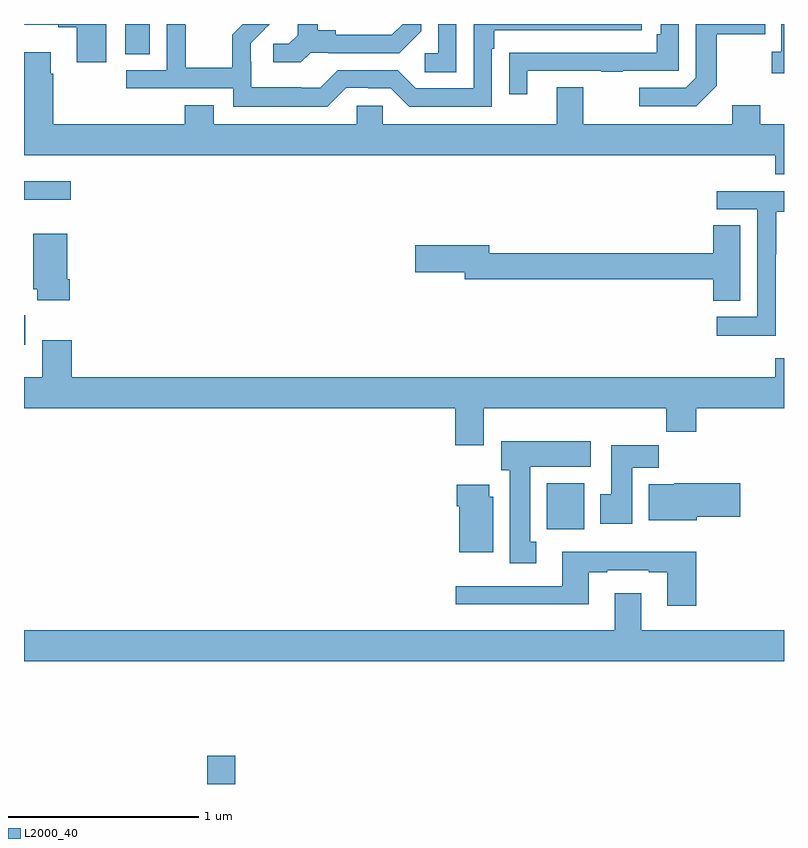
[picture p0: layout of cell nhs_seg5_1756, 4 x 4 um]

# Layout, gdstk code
import gdstk
lib = gdstk.Library(unit=1e-6, precision=1e-09)
def R(c, l, rs):  # rectangles x0, y0, x1, y1
    for r in rs: c.add(gdstk.rectangle(r[:2], r[2:], *l))
def P(c, l, *ps):  # polygons
    for p in ps: c.add(gdstk.Polygon(p, *l))
L2000_40 = (2000, 40)

nhs_seg5_1756 = lib.new_cell('nhs_seg5_1756')
R(nhs_seg5_1756, L2000_40, [(217.964,838.799,218.111,838.948), (219.752,840.14,219.949,840.382), (217,841.112,217.006,841.266), (217,841.875,217.246,841.972), (217.532,842.641,217.663,842.799)])
P(nhs_seg5_1756, L2000_40, [(217.432,842.799),(217,842.799),(217,842.795),(217.181,842.795),(217.181,842.783),(217.277,842.783),(217.277,842.598),(217.432,842.598)],
  [(221,842.799),(220.986,842.799),(220.986,842.654),(220.935,842.654),(220.935,842.541),(221,842.541)],
  [(218.508,842.649),(218.602,842.649),(218.602,842.646),(218.974,842.646),(219.09,842.762),(219.09,842.799),(218.993,842.799),(218.936,842.742),(218.641,842.742),(218.641,842.765),(218.545,842.765),(218.545,842.799),(218.441,842.799),(218.441,842.741),(218.394,842.694),(218.313,842.694),(218.313,842.597),(218.456,842.597)],
  [(220.645,842.473),(220.645,842.746),(220.901,842.746),(220.901,842.799),(220.536,842.799),(220.536,842.517),(220.482,842.463),(220.239,842.463),(220.239,842.367),(220.539,842.367)],
  [(219.649,842.553),(220.039,842.553),(220.039,842.548),(220.151,842.548),(220.151,842.553),(220.446,842.553),(220.446,842.799),(220.35,842.799),(220.35,842.746),(220.33,842.746),(220.33,842.649),(219.655,842.649),(219.655,842.648),(219.553,842.648),(219.553,842.43),(219.649,842.43)],
  [(219.276,842.799),(219.18,842.799),(219.18,842.646),(219.108,842.646),(219.108,842.545),(219.276,842.545)],
  [(218.697,842.463),(218.813,842.463),(218.813,842.46),(218.931,842.46),(219.027,842.364),(219.462,842.364),(219.462,842.669),(219.475,842.669),(219.475,842.766),(220.252,842.766),(220.252,842.799),(219.366,842.799),(219.366,842.46),(219.063,842.46),(218.967,842.556),(218.652,842.556),(218.559,842.463),(218.459,842.463),(218.459,842.467),(218.196,842.467),(218.196,842.601),(218.194,842.601),(218.194,842.698),(218.268,842.772),(218.267,842.773),(218.293,842.799),(218.151,842.799),(218.095,842.743),(218.095,842.569),(217.851,842.569),(217.851,842.792),(217.848,842.792),(217.848,842.799),(217.752,842.799),(217.752,842.556),(217.539,842.556),(217.539,842.46),(218.1,842.46),(218.1,842.363),(218.597,842.363)],
  [(221,842.272),(220.875,842.272),(220.875,842.371),(220.727,842.371),(220.727,842.272),(219.943,842.272),(219.943,842.467),(219.803,842.467),(219.803,842.272),(218.889,842.272),(218.889,842.37),(218.751,842.37),(218.751,842.272),(217.999,842.272),(217.999,842.371),(217.847,842.371),(217.847,842.272),(217.154,842.272),(217.154,842.537),(217.141,842.537),(217.141,842.65),(217.001,842.65),(217.001,842.272),(217,842.272),(217,842.108),(220.955,842.108),(220.955,842.009),(221,842.009)],
  [(220.956,841.588),(220.959,841.588),(220.959,841.812),(221,841.812),(221,841.92),(220.647,841.92),(220.647,841.824),(220.86,841.824),(220.86,841.257),(220.647,841.257),(220.647,841.159),(220.956,841.159)],
  [(220.771,841.739),(220.628,841.739),(220.628,841.592),(219.448,841.592),(219.448,841.635),(219.06,841.635),(219.06,841.493),(219.32,841.493),(219.32,841.456),(220.628,841.456),(220.628,841.342),(220.771,841.342)],
  [(217.241,841.456),(217.228,841.456),(217.228,841.696),(217.049,841.696),(217.049,841.404),(217.07,841.404),(217.07,841.344),(217.241,841.344)],
  [(217.25,841.135),(217.097,841.135),(217.097,840.94),(217,840.94),(217,840.776),(219.269,840.776),(219.269,840.582),(219.421,840.582),(219.421,840.776),(220.381,840.776),(220.381,840.652),(220.538,840.652),(220.538,840.776),(221,840.776),(221,841.039),(220.955,841.039),(220.955,840.94),(217.25,840.94)],
  [(219.697,840.074),(219.664,840.074),(219.664,840.47),(219.982,840.47),(219.982,840.604),(219.512,840.604),(219.512,840.45),(219.557,840.45),(219.557,839.961),(219.697,839.961)],
  [(220.201,840.464),(220.34,840.464),(220.34,840.583),(220.091,840.583),(220.091,840.324),(220.034,840.324),(220.034,840.168),(220.201,840.168)],
  [(220.54,840.206),(220.771,840.206),(220.771,840.382),(220.422,840.382),(220.422,840.376),(220.289,840.376),(220.289,840.188),(220.54,840.188)],
  [(219.469,840.312),(219.448,840.312),(219.448,840.373),(219.278,840.373),(219.278,840.26),(219.29,840.26),(219.29,840.02),(219.469,840.02)],
  [(220.538,840.022),(219.833,840.022),(219.833,839.841),(219.273,839.841),(219.273,839.744),(219.973,839.744),(219.973,839.913),(220.069,839.913),(220.069,839.925),(220.289,839.925),(220.289,839.913),(220.385,839.913),(220.385,839.736),(220.538,839.736)],
  [(221,839.608),(220.249,839.608),(220.249,839.803),(220.109,839.803),(220.109,839.608),(217,839.608),(217,839.444),(221,839.444)])

lib.write_gds('nhs_seg5_1756.gds')
